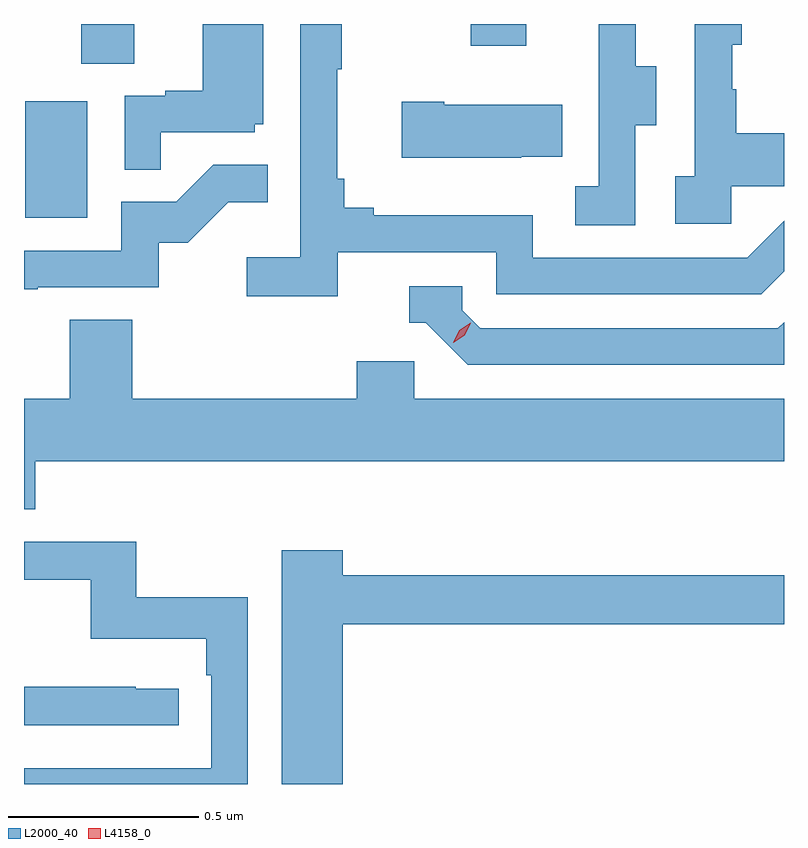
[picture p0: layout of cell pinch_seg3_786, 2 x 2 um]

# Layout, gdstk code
import gdstk
lib = gdstk.Library(unit=1e-6, precision=1e-09)
def R(c, l, rs):  # rectangles x0, y0, x1, y1
    for r in rs: c.add(gdstk.rectangle(r[:2], r[2:], *l))
def P(c, l, *ps):  # polygons
    for p in ps: c.add(gdstk.Polygon(p, *l))
L2000_40 = (2000, 40)
L4158_0 = (4158, 0)

pinch_seg3_786 = lib.new_cell('pinch_seg3_786')
R(pinch_seg3_786, L2000_40, [(819.332,744.18,819.496,744.487), (819.479,744.586,819.619,744.69), (820.504,744.633,820.651,744.69)])
P(pinch_seg3_786, L2000_40, [(819.689,744.405),(819.936,744.405),(819.936,744.426),(819.958,744.426),(819.958,744.69),(819.8,744.69),(819.8,744.514),(819.701,744.514),(819.701,744.501),(819.594,744.501),(819.594,744.307),(819.689,744.307)],
  [(820.154,744.09),(820.572,744.09),(820.572,743.979),(821.269,743.979),(821.329,744.039),(821.329,744.172),(821.232,744.075),(820.668,744.075),(820.668,744.187),(820.249,744.187),(820.249,744.206),(820.172,744.206),(820.172,744.283),(820.153,744.283),(820.153,744.571),(820.165,744.571),(820.165,744.69),(820.056,744.69),(820.056,744.076),(819.915,744.076),(819.915,743.974),(820.154,743.974)],
  [(821.19,744.263),(821.329,744.263),(821.329,744.403),(821.203,744.403),(821.203,744.518),(821.193,744.518),(821.193,744.636),(821.218,744.636),(821.218,744.69),(821.094,744.69),(821.094,744.29),(821.043,744.29),(821.043,744.165),(821.19,744.165)],
  [(820.938,744.424),(820.993,744.424),(820.993,744.579),(820.939,744.579),(820.939,744.69),(820.841,744.69),(820.841,744.567),(820.842,744.567),(820.842,744.263),(820.779,744.263),(820.779,744.16),(820.938,744.16)],
  [(820.637,744.341),(820.745,744.341),(820.745,744.478),(820.435,744.478),(820.435,744.486),(820.323,744.486),(820.323,744.338),(820.637,744.338)],
  [(819.365,743.997),(819.684,743.997),(819.684,744.114),(819.76,744.114),(819.867,744.221),(819.971,744.221),(819.971,744.32),(819.827,744.32),(819.729,744.222),(819.585,744.222),(819.585,744.093),(819.329,744.093),(819.329,743.992),(819.365,743.992)],
  [(821.329,743.905),(821.313,743.889),(820.53,743.889),(820.482,743.937),(820.482,744),(820.343,744),(820.343,743.904),(820.386,743.904),(820.497,743.793),(821.329,743.793)],
  [(819.359,743.54),(821.329,743.54),(821.329,743.704),(820.356,743.704),(820.356,743.802),(820.205,743.802),(820.205,743.704),(819.614,743.704),(819.614,743.912),(819.449,743.912),(819.449,743.704),(819.329,743.704),(819.329,743.413),(819.359,743.413)],
  [(819.918,743.182),(819.625,743.182),(819.625,743.328),(819.329,743.328),(819.329,743.227),(819.504,743.227),(819.504,743.072),(819.809,743.072),(819.809,742.976),(819.822,742.976),(819.822,742.731),(819.509,742.731),(819.509,742.732),(819.329,742.732),(819.329,742.69),(819.918,742.69)],
  [(820.168,743.11),(821.329,743.11),(821.329,743.239),(820.168,743.239),(820.168,743.305),(820.007,743.305),(820.007,742.69),(820.168,742.69)],
  [(819.736,742.941),(819.623,742.941),(819.623,742.946),(819.329,742.946),(819.329,742.845),(819.736,742.845)])
P(pinch_seg3_786, L4158_0, [(820.458,743.851),(820.458,743.852),(820.474,743.884),(820.505,743.904),(820.505,743.904),(820.505,743.904),(820.489,743.871),(820.458,743.851)])

lib.write_gds('pinch_seg3_786.gds')
